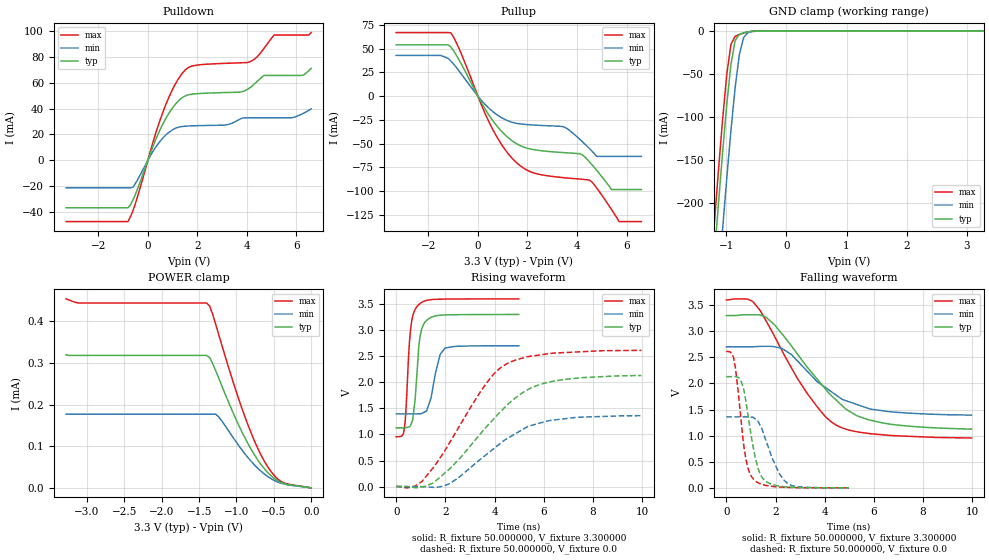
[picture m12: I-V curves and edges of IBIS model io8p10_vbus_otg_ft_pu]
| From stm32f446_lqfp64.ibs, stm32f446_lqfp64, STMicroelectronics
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|   Model io8p10_vbus_otg_ft_pu
[Model]  io8p10_vbus_otg_ft_pu
Model_type I/O
Polarity   Non-Inverting
Enable   Active-Low
Vinl =   0.990000V
Vinh =   2.310000V
Vmeas =  1.650000V
Cref =   40.000000pF
Rref =   100.000000M
Vref =   0.0V
C_comp   3.304800pF   3.199300pF   3.429300pF
[Temperature Range]   25.000000   0.125000k   -40.000000
[Pullup Reference]   3.300000V   2.700000V   3.600000V
[Pulldown Reference]   0.0V   0.0V   0.0V
[POWER Clamp Reference]   3.300000V   2.700000V   3.600000V
[GND Clamp Reference]   0.0V   0.0V   0.0V
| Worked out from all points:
|   slope of the pulldown table from 0 to 0.495 V, typ, clamps not added: 20.9 ohm
|   slope of the pullup table from 0 to 0.495 V, typ, clamps not added: 22.6 ohm
|   GND clamp passes 1 mA (typ) near -0.61 V on its own axis
|   rising waveform, R_fixture 50.000000, V_fixture 3.300000: 20-80 % time 227ps typ, 353ps min, 205ps max; typ from 1.12 V to 3.3 V
|   rising waveform, R_fixture 50.000000, V_fixture 0.0: 20-80 % time 2.51ns typ, 2.32ns min, 2.1ns max; typ from 0.001 V to 2.13 V
|   falling waveform, R_fixture 50.000000, V_fixture 3.300000: 20-80 % time 2.34ns typ, 2.08ns min, 2.05ns max; typ from 3.3 V to 1.12 V
|   falling waveform, R_fixture 50.000000, V_fixture 0.0: 20-80 % time 481ps typ, 678ps min, 388ps max; typ from 2.13 V to 0.001 V
[Pulldown]
|Voltage   I(typ)   I(min)   I(max)
-3.3V     -36.41mA   -21.08mA   -47.04mA
-800mV    -36.41mA   -21.08mA   -47.04mA
-600mV    -30.48mA   -20.53mA   -38.65mA
700mV     31.4mA     19.11mA    41.71mA
1.2V      45.15mA    25.37mA    61.75mA
1.6V      50.35mA    26.5mA     71.06mA
3.1V      52.28mA    27.26mA    74.76mA
4.1V      55.64mA    32.87mA    75.8mA
4.7V      65.47mA    32.87mA    86.49mA
5.1V      65.47mA    32.87mA    96.56mA
6.2V      65.47mA    35.57mA    96.56mA
6.6V      70.92mA    39.71mA    98.46mA
[Pullup]
|Voltage   I(typ)   I(min)   I(max)
-3.3V     54.06mA    42.89mA    66.91mA
-1.1V     51.85mA    37.21mA    66.69mA
500mV     -22.06mA   -14mA      -30.03mA
1.5V      -49.1mA    -28.3mA    -68.56mA
2.2V      -56.04mA   -30.32mA   -80.35mA
3.5V      -59.52mA   -32.65mA   -85.91mA
4.2V      -61.44mA   -47.48mA   -87.46mA
4.5V      -69.06mA   -55.12mA   -88.39mA
4.8V      -78.22mA   -63.4mA    -96.84mA
5.4V      -98.3mA    -63.4mA    -119.6mA
5.7V      -98.3mA    -63.4mA    -132mA
6.6V      -98.3mA    -63.4mA    -132mA
[GND_clamp]
|Voltage   I(typ)   I(min)   I(max)
-3.3V     -2.321A    -2.399A    -2.294A
-1.2V     -265.6mA   -356.2mA   -227.3mA
-1.13V    -202.8mA   -293mA     -164.3mA
-1.06V    -142.3mA   -231.2mA   -104.3mA
-990mV    -86.15mA   -171.7mA   -51mA
-920mV    -39.05mA   -115.6mA   -15.71mA
-850mV    -11.4mA    -65.74mA   -6.366mA
-780mV    -4.046mA   -27.6mA    -4.153mA
-710mV    -2.285mA   -7.882mA   -2.591mA
-640mV    -1.291mA   -2.274mA   -1.367mA
-570mV    -618uA     -909.9uA   -567.3uA
3.28V     0A         0A         0A
[POWER_clamp]
|Voltage   I(typ)   I(min)   I(max)
-3.28V    319.9uA    177.1uA    454.3uA
-3.12V    318.3uA    177.1uA    444.3uA
-1.4V     318.3uA    177.1uA    444.3uA
-1.36V    313.4uA    177.1uA    437.2uA
-1.28V    282.3uA    177.1uA    394.1uA
-1.24V    264.6uA    170.9uA    369.7uA
-920mV    131.9uA    89.38uA    187.2uA
-760mV    79.47uA    55.16uA    112.7uA
-640mV    48.78uA    35.06uA    68.06uA
-520mV    26.21uA    20.13uA    35uA
-400mV    12.52uA    10.84uA    14.88uA
0V        0A         0A         0A
[Ramp]
| variable   typ   min   max
dV/dt_r  1.26709/2.50565n   0.81135/2.32683n   1.56460/2.10544n
dV/dt_f  1.28208/2.32143n   0.77472/2.05782n   1.57422/2.04765n
R_load = 50.000000
[Rising Waveform]
R_fixture= 50.000000
V_fixture= 3.300000
V_fixture_min= 2.700000
V_fixture_max= 3.600000
|time   V(typ)   V(min)   V(max)
0s        1.125V     1.393V     955.6mV
300.3ps   1.127V     1.393V     1.026V
370.4ps   1.129V     1.393V     1.283V
580.6ps   1.174V     1.393V     2.996V
670.7ps   1.283V     1.393V     3.264V
850.9ps   2.214V     1.394V     3.455V
940.9ps   2.777V     1.395V     3.498V
1.111ns   3.111V     1.419V     3.551V
1.982ns   3.291V     2.653V     3.595V
4.985ns   3.3V       2.7V       3.599V
[Rising Waveform]
R_fixture= 50.000000
V_fixture= 0.0
V_fixture_min= 0.0
V_fixture_max= 0.0
|time   V(typ)   V(min)   V(max)
0s        1.432mV    1.238mV    1.804mV
460.5ps   -1.342mV   1.179mV    -23.95mV
1.041ns   -6.428mV   -821.5uV   95.7mV
1.542ns   81.44mV    -14.79mV   384.2mV
2.142ns   326.3mV    50.72mV    818mV
3.624ns   1.122V     598mV      1.952V
4.444ns   1.534V     902.1mV    2.341V
5.225ns   1.828V     1.118V     2.476V
6.186ns   2V         1.261V     2.547V
9.97ns    2.129V     1.359V     2.612V
[Falling Waveform]
R_fixture= 50.000000
V_fixture= 3.300000
V_fixture_min= 2.700000
V_fixture_max= 3.600000
|time   V(typ)   V(min)   V(max)
0s        3.3V       2.7V       3.599V
1.081ns   3.315V     2.702V     3.566V
1.602ns   3.272V     2.711V     3.208V
2.242ns   2.96V      2.675V     2.647V
3.303ns   2.302V     2.227V     1.798V
4.004ns   1.908V     1.93V      1.377V
4.484ns   1.674V     1.77V      1.198V
5.305ns   1.383V     1.598V     1.075V
6.326ns   1.247V     1.478V     1.018V
9.97ns    1.125V     1.393V     955.6mV
[Falling Waveform]
R_fixture= 50.000000
V_fixture= 0.0
V_fixture_min= 0.0
V_fixture_max= 0.0
|time   V(typ)   V(min)   V(max)
0s        2.129V     1.359V     2.612V
300.3ps   2.13V      1.359V     2.479V
460.5ps   2.118V     1.359V     1.943V
620.6ps   2.02V      1.359V     1.191V
850.9ps   1.491V     1.361V     432.3mV
1.111ns   737mV      1.344V     164.4mV
1.491ns   178.2mV    1.071V     63.45mV
2.142ns   37.27mV    285.1mV    15.82mV
2.452ns   19.1mV     99.6mV     10.86mV
4.985ns   1.432mV    1.238mV    1.804mV
